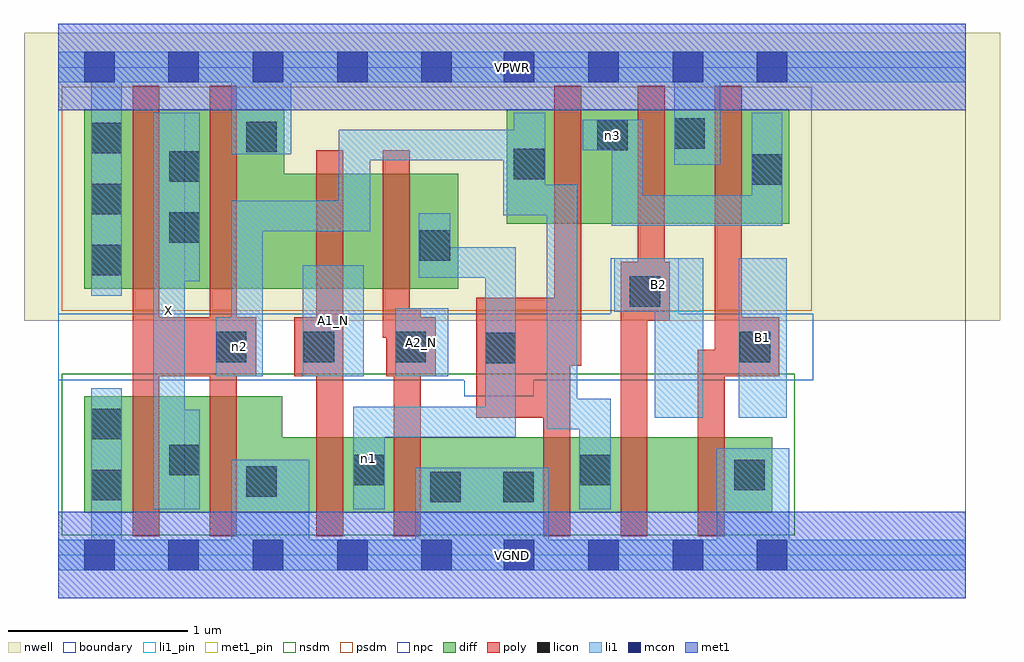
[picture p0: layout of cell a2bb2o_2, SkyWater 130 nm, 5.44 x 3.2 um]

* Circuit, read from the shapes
.subckt a2bb2o_2 A1_N A2_N B1 B2 VGND VPWR X n1 n2 n3
XM1 X n2 VGND VSUBS sky130_fd_pr__nfet_01v8 w=0.65 l=0.15 m=2
XM2 n1 A1_N VGND VSUBS sky130_fd_pr__nfet_01v8 w=0.42 l=0.15
XM3 VGND A2_N n1 VSUBS sky130_fd_pr__nfet_01v8 w=0.42 l=0.15
XM4 n2 n1 VGND VSUBS sky130_fd_pr__nfet_01v8 w=0.42 l=0.15
XM5 n4 B2 n2 VSUBS sky130_fd_pr__nfet_01v8 w=0.42 l=0.15
XM6 VGND B1 n4 VSUBS sky130_fd_pr__nfet_01v8 w=0.42 l=0.15
XM7 X n2 VPWR n5 sky130_fd_pr__pfet_01v8 w=1 l=0.15 m=2
XM8 n6 A1_N VPWR n5 sky130_fd_pr__pfet_01v8 w=0.64 l=0.15
XM9 n1 A2_N n6 n5 sky130_fd_pr__pfet_01v8 w=0.64 l=0.15
XM10 n3 n1 n2 n5 sky130_fd_pr__pfet_01v8 w=0.64 l=0.15
XM11 VPWR B2 n3 n5 sky130_fd_pr__pfet_01v8 w=0.64 l=0.15
XM12 n3 B1 VPWR n5 sky130_fd_pr__pfet_01v8 w=0.64 l=0.15
.ends

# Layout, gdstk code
import gdstk
lib = gdstk.Library(unit=1e-6, precision=1e-09)
def R(c, l, rs):  # rectangles x0, y0, x1, y1
    for r in rs: c.add(gdstk.rectangle(r[:2], r[2:], *l))
def A(c, l, x, y, w, h, nx, ny, dx, dy):  # array of equal rectangles
    R(c, l, [(x+i*dx, y+j*dy, x+i*dx+w, y+j*dy+h) for i in range(nx) for j in range(ny)])
nwell = (64, 20)
diff = (65, 20)
poly = (66, 20)
licon = (66, 44)
li1_pin = (67, 16)
li1 = (67, 20)
mcon = (67, 44)
met1_pin = (68, 16)
met1 = (68, 20)
nsdm = (93, 44)
psdm = (94, 20)
npc = (95, 20)
boundary = (235, 4)

a2bb2o_2 = lib.new_cell('a2bb2o_2')
R(a2bb2o_2, nwell, [(-0.19,1.305,5.25,2.91), (0,1.305,5.06,2.91)])
R(a2bb2o_2, diff, [(0.145,0.235,3.98,0.655), (0.145,0.235,1.25,0.885), (0.145,1.485,2.23,2.125), (0.145,1.485,1.26,2.485), (2.5,1.845,4.075,2.485)])
R(a2bb2o_2, poly, [(0.415,0.105,0.565,2.615), (0.845,0.105,0.995,2.615), (1.44,0.105,1.59,2.255), (1.87,0.105,2.02,1.375), (2.705,0.105,2.855,1.435), (3.135,0.105,3.285,1.635), (3.565,0.105,3.715,1.145), (2.33,0.765,2.855,1.435), (0.415,0.995,1.105,1.325), (1.315,0.995,1.59,1.325), (1.83,0.995,2.105,1.325), (3.66,0.995,3.81,2.615), (3.66,0.995,4.02,1.325), (2.765,1.055,2.915,2.615), (1.81,1.21,1.96,2.255), (3.135,1.305,3.41,1.635), (3.23,1.305,3.38,2.615)])
A(a2bb2o_2, licon, 0.185, 1.56, 0.17, 0.17, 1, 3, 0, 0.34)
R(a2bb2o_2, licon, [(2.075,0.295,2.245,0.465), (2.48,0.295,2.65,0.465), (0.185,0.305,0.355,0.475), (1.05,0.325,1.22,0.495), (3.77,0.36,3.94,0.53), (1.645,0.39,1.815,0.56), (2.91,0.39,3.08,0.56), (0.62,0.445,0.79,0.615), (0.185,0.645,0.355,0.815), (2.38,1.07,2.55,1.24), (0.88,1.075,1.05,1.245), (1.37,1.075,1.54,1.245), (1.88,1.075,2.05,1.245), (3.8,1.075,3.97,1.245), (3.185,1.385,3.355,1.555), (2.015,1.64,2.185,1.81), (0.62,1.74,0.79,1.91), (3.865,2.065,4.035,2.235), (0.62,2.08,0.79,2.25), (2.54,2.095,2.71,2.265), (1.05,2.245,1.22,2.415), (3.005,2.255,3.175,2.425), (3.435,2.265,3.605,2.435)])
R(a2bb2o_2, li1_pin, [(0.53,0.255,0.705,2.465), (3.795,0.765,4.06,1.655), (1.365,0.995,1.705,1.615), (1.88,0.995,2.175,1.375), (3.1,1.355,3.595,1.655)])
R(a2bb2o_2, li1, [(0,-0.085,5.06,0.085), (0.185,-0.085,0.355,0.93), (0.965,-0.085,1.4,0.53), (1.99,-0.085,2.735,0.485), (3.67,-0.085,4.075,0.595), (0.53,0.255,0.705,2.465), (0.53,0.255,0.79,0.81), (1.645,0.255,1.82,0.825), (2.905,0.255,3.08,0.87), (1.645,0.655,2.55,0.825), (2.38,0.655,2.55,1.715), (2.725,0.7,2.895,2.065), (2.725,0.7,3.08,0.87), (3.325,0.765,3.595,1.655), (3.795,0.765,4.06,1.655), (0.88,0.995,1.14,1.325), (0.965,0.995,1.14,1.975), (1.365,0.995,1.705,1.615), (1.88,0.995,2.175,1.375), (3.1,1.355,3.595,1.655), (0.185,1.445,0.355,2.805), (0.53,1.525,0.79,2.465), (2.01,1.545,2.55,1.715), (2.01,1.545,2.185,1.905), (0.965,1.805,1.74,1.975), (1.565,1.805,1.74,2.37), (3.085,1.835,4.035,2.005), (3.085,1.835,3.26,2.425), (3.865,1.835,4.035,2.465), (2.48,1.895,2.715,2.37), (2.48,1.895,2.895,2.065), (2.54,1.895,2.715,2.465), (3.435,2.175,3.69,2.805), (1.565,2.2,2.715,2.37), (0.965,2.235,1.3,2.805), (2.925,2.255,3.26,2.425), (0,2.635,5.06,2.805)])
A(a2bb2o_2, mcon, 0.145, -0.085, 0.17, 0.17, 5, 2, 0.47, 2.72)
A(a2bb2o_2, mcon, 2.485, -0.085, 0.17, 0.17, 4, 2, 0.47, 2.72)
R(a2bb2o_2, met1_pin, [(0,-0.24,5.06,0.24), (0,2.48,5.06,2.96)])
R(a2bb2o_2, met1, [(0,-0.24,5.06,0.24), (0,2.48,5.06,2.96)])
R(a2bb2o_2, nsdm, [(0.02,0.11,4.105,1.01)])
R(a2bb2o_2, psdm, [(0.02,1.36,4.2,2.61)])
R(a2bb2o_2, npc, [(2.265,0.885,2.65,1.345), (0,0.975,4.21,1.345), (3.08,0.975,3.46,1.655)])
R(a2bb2o_2, boundary, [(0,0,5.06,2.72)])
a2bb2o_2.add(gdstk.Label('A1_N', (1.535,1.305), layer=67, texttype=5))
a2bb2o_2.add(gdstk.Label('A2_N', (2.027,1.185), layer=67, texttype=5))
a2bb2o_2.add(gdstk.Label('B1', (3.927,1.21), layer=67, texttype=5))
a2bb2o_2.add(gdstk.Label('B2', (3.347,1.505), layer=67, texttype=5))
a2bb2o_2.add(gdstk.Label('X', (0.617,1.36), layer=67, texttype=5))
a2bb2o_2.add(gdstk.Label('n1', (1.732,0.54), layer=67, texttype=5))
a2bb2o_2.add(gdstk.Label('n2', (1.01,1.16), layer=67, texttype=5))
a2bb2o_2.add(gdstk.Label('n3', (3.092,2.34), layer=67, texttype=5))
a2bb2o_2.add(gdstk.Label('VPWR', (2.53,2.72), layer=68, texttype=5))
a2bb2o_2.add(gdstk.Label('VGND', (2.53,0), layer=68, texttype=5))
a2bb2o_2.add(gdstk.Label('A1_N', (1.535,1.305), layer=67, texttype=16))
a2bb2o_2.add(gdstk.Label('A2_N', (2.027,1.185), layer=67, texttype=16))
a2bb2o_2.add(gdstk.Label('B1', (3.927,1.21), layer=67, texttype=16))
a2bb2o_2.add(gdstk.Label('B2', (3.347,1.505), layer=67, texttype=16))
a2bb2o_2.add(gdstk.Label('X', (0.617,1.36), layer=67, texttype=16))
a2bb2o_2.add(gdstk.Label('VPWR', (2.53,2.72), layer=68, texttype=16))
a2bb2o_2.add(gdstk.Label('VGND', (2.53,0), layer=68, texttype=16))

lib.write_gds('a2bb2o_2.gds')
